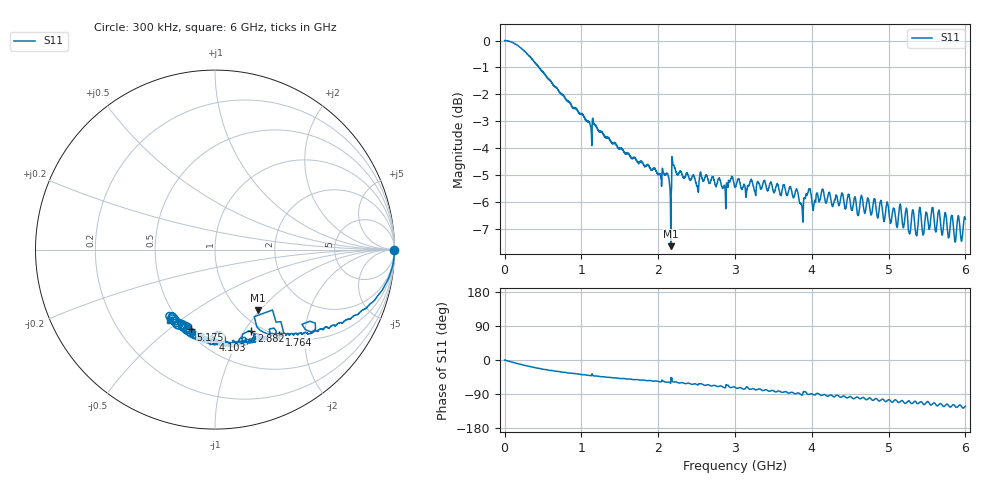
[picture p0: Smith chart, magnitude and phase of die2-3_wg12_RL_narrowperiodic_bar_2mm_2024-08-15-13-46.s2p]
!Keysight Technologies,P9374A,MY57304198,A.17.20.09
!Date: Thursday, August 15, 2024 13:46:54
!Correction: S11(C  1-Port  )
!S21(C  1-Port  )
!S12(Off)
!S22(Off)
!S2P File: Measurements: S11, S21, S12, S22:
# Hz S  dB  R 50
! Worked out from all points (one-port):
!   6000 points, 300 kHz to 6 GHz, reference 50 ohm
!   lowest |S11| = -7.6 dB at 2.165 GHz (marker M1), VSWR 2.42, Z = 59.6 - j48.9 ohm
!   |S11| at or under -10 dB: nowhere
!   S11 on the Smith chart (normalised r, x): 300 kHz: open; 1.764 GHz: 1.01, -1.49; 2.882 GHz: 0.89, -1.08; 4.103 GHz: 0.58, -0.79; 5.175 GHz: 0.53, -0.60; 6 GHz: 0.46, -0.46
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300000  -0.00 -0.0  -200.00 45.0  -200.00 45.0  -200.00 45.0
1.843215e8  -0.21 -10.3  -200.00 45.0  -200.00 45.0  -200.00 45.0
4.153484e8  -0.89 -21.2  -200.00 45.0  -200.00 45.0  -200.00 45.0
6.643775e8  -1.73 -29.8  -200.00 45.0  -200.00 45.0  -200.00 45.0
1.000417e9  -2.74 -38.6  -200.00 45.0  -200.00 45.0  -200.00 45.0
1.763506e9  -4.51 -53.1  -200.00 45.0  -200.00 45.0  -200.00 45.0
2.000533e9  -4.99 -56.7  -200.00 45.0  -200.00 45.0  -200.00 45.0
2.135549e9  -5.06 -58.2  -200.00 45.0  -200.00 45.0  -200.00 45.0
2.164553e9  -7.64 -54.8  -200.00 45.0  -200.00 45.0  -200.00 45.0
2.209558e9  -4.70 -57.9  -200.00 45.0  -200.00 45.0  -200.00 45.0
2.849632e9  -5.46 -72.2  -200.00 45.0  -200.00 45.0  -200.00 45.0
2.881636e9  -6.05 -66.0  -200.00 45.0  -200.00 45.0  -200.00 45.0
3.00065e9  -5.42 -72.1  -200.00 45.0  -200.00 45.0  -200.00 45.0
3.635724e9  -5.37 -84.4  -200.00 45.0  -200.00 45.0  -200.00 45.0
3.85375e9  -6.08 -91.1  -200.00 45.0  -200.00 45.0  -200.00 45.0
3.913757e9  -5.86 -83.7  -200.00 45.0  -200.00 45.0  -200.00 45.0
4.000767e9  -5.95 -89.6  -200.00 45.0  -200.00 45.0  -200.00 45.0
4.102779e9  -5.93 -91.2  -200.00 45.0  -200.00 45.0  -200.00 45.0
5.000883e9  -6.29 -104.7  -200.00 45.0  -200.00 45.0  -200.00 45.0
5.174904e9  -6.65 -106.8  -200.00 45.0  -200.00 45.0  -200.00 45.0
5.865984e9  -7.49 -121.9  -200.00 45.0  -200.00 45.0  -200.00 45.0
6e9  -6.64 -121.8  -200.00 45.0  -200.00 45.0  -200.00 45.0
